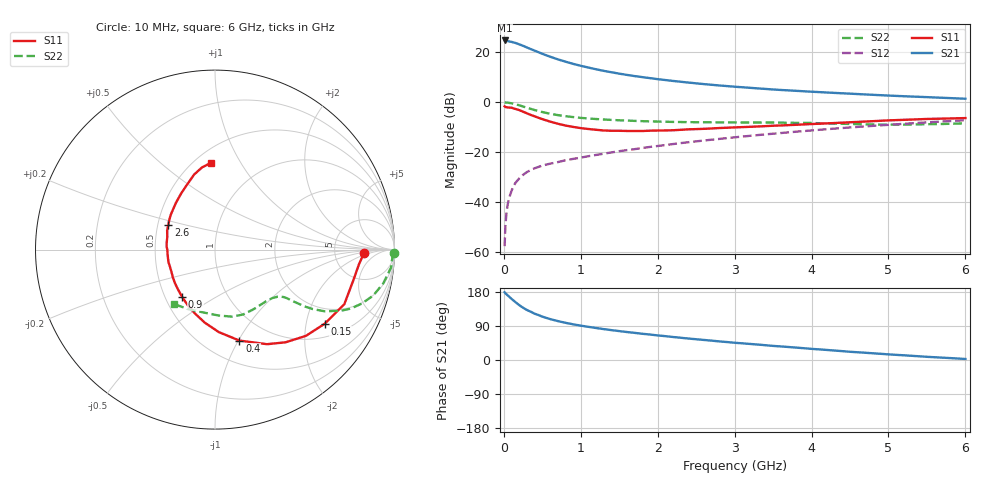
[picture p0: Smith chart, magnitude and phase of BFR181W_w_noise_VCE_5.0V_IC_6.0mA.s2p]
! Infineon Technologies  Discrete & RF Semiconductors
! BFR181W
! VCE =  5.0 V,  IC =  6.0 mA
! Common Emitter S-Parameters:  Jan 2017
# GHz  S  MA  R  50
!  f  S11  S21  S12  S22
! GHz  MAG  ANG  MAG  ANG  MAG  ANG  MAG  ANG
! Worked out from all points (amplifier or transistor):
!   77 points, 10 MHz to 6 GHz, reference 50 ohm
!   highest |S21| = 24.8 dB at 10 MHz (marker M1)
!   |S21| within 3 dB of that: start of sweep to 314.1 MHz
!   unconditionally stable (mu >= 1): 1.24 GHz to 3.284 GHz
!   at 130 MHz: K = 0.19, MSG = 28.8 dB, |S12| = -33.5 dB
!   at 2.2 GHz: K = 1.07, MAG = 11.0 dB, |S12| = -16.7 dB
!   at 6 GHz: K = 0.85, MSG = 4.3 dB, |S12| = -7.2 dB
!   lowest NFmin = 1.03 dB at 450 MHz
!   S11 on the Smith chart (normalised r, x): 10 MHz: 10, -1; 150 MHz: 1.41, -2.56; 400 MHz: 0.72, -1.01; 900 MHz: 0.61, -0.36; 2.6 GHz: 0.57, +0.17; 6 GHz: 0.60, +0.75
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0.01  0.829 -1.5  17.43 178.7  0.0013 79.5  0.997 -1.1
0.02  0.806 -5.9  17.13 176.0  0.0032 92.8  0.9899 -2.1
0.04  0.7956 -9.5  17 172.3  0.007 83.9  0.9867 -4.6
0.05  0.7917 -11.4  16.95 170.5  0.0089 82.3  0.9858 -5.8
0.1  0.7821 -22.9  16.33 161.3  0.0167 77.7  0.9566 -11.3
0.15  0.7374 -34.1  15.56 152.8  0.0241 73.9  0.9179 -16.2
0.2  0.6983 -43.5  14.56 144.8  0.0297 69.9  0.8712 -20.2
0.25  0.6487 -52.8  13.62 137.9  0.0351 65.8  0.8247 -23.5
0.3  0.6014 -61.2  12.6 131.9  0.0399 63.1  0.778 -26.0
0.4  0.5248 -75.0  10.88 122.1  0.0475 59.7  0.6998 -29.4
0.5  0.4605 -87.3  9.401 114.5  0.0538 58.0  0.6382 -31.3
0.6  0.4108 -98.0  8.246 108.1  0.0587 57.6  0.5908 -32.4
0.7  0.3725 -107.6  7.294 102.8  0.0631 57.5  0.5548 -32.9
0.9  0.3212 -124.8  5.917 94.2  0.0732 58.1  0.5059 -33.7
1.1  0.2915 -139.8  4.974 87.5  0.083 59.9  0.4747 -34.3
1.5  0.2684 -164.3  3.762 76.3  0.1045 61.7  0.436 -37.0
2.1  0.2729 168.6  2.799 62.9  0.1391 62.9  0.4077 -44.2
2.6  0.2939 152.3  2.321 52.9  0.1712 62.4  0.3976 -52.2
3.1  0.3181 139.1  2.006 44.0  0.2056 60.9  0.394 -60.4
4.1  0.3722 118.9  1.603 28.0  0.281 55.6  0.3808 -77.8
5.1  0.4397 104.1  1.346 13.6  0.3619 48.0  0.356 -102.6
6  0.483 92.9  1.181 2.7  0.4378 39.7  0.3792 -127.0
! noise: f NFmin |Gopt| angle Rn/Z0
0.45  1.03  0.28  16  0.22
0.9  1.07  0.26  30  0.22
1.9  1.49  0.12  82  0.19
2.4  1.65  0.1  95  0.23
